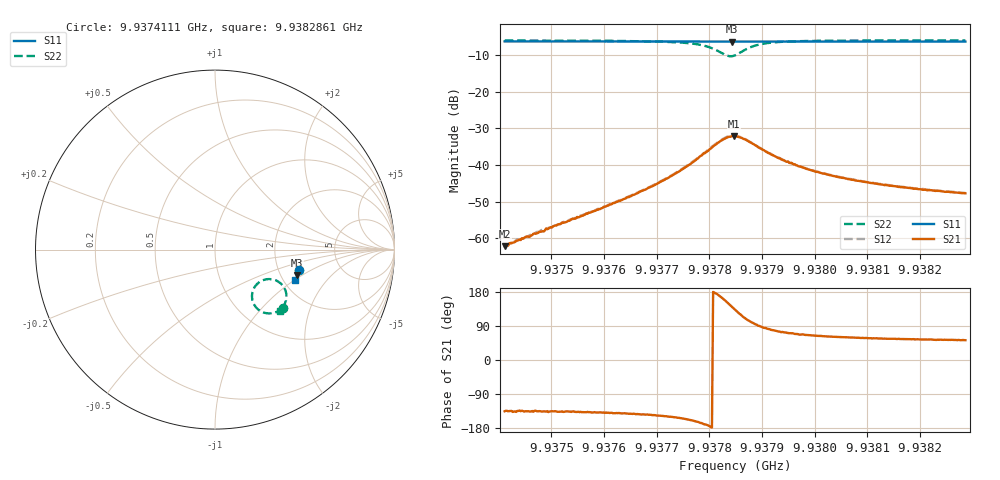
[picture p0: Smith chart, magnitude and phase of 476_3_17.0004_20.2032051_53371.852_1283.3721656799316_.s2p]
#  HZ  S  RI  R  50.00
! Rohde & Schwarz Vector Network Analyzer
! Rohde-Schwarz,ZNB20-2Port,1311601062101988,3.16
! Created: UTC 3/20/2024, 11:13:23 PM
! freq[Hz]  re:S11  im:S11  re:S21  im:S21  re:S12  im:S12  re:S22  im:S22
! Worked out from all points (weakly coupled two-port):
!   401 points, 9.9374111 GHz to 9.9382861 GHz, reference 50 ohm
!   highest |S21| = -32.15 dB at 9.9378464 GHz (marker M1); lowest = -62.2 dB at 9.9374111 GHz (marker M2)
!   lowest |S11| = -6.4 dB at 9.937842 GHz (marker M3), VSWR 2.83, Z = 122 - j45.2 ohm
!   |S11| at or under -10 dB: nowhere
!   |S22| runs from -10.4 to -6.1 dB; largest |S21 - S12| = 0.001
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9.93741106e9  0.4691 -0.1159  -0.000553 -0.000547  -0.000593 -0.000552  0.3768 -0.3242
9.93741981e9  0.4689 -0.1164  -0.000596 -0.000601  -0.000593 -0.000599  0.3761 -0.3248
9.93743512e9  0.4684 -0.1174  -0.000648 -0.000661  -0.000695 -0.000674  0.3749 -0.3259
9.93755763e9  0.4657 -0.1257  -0.00149 -0.00136  -0.00151 -0.00138  0.3615 -0.3366
9.93763639e9  0.4638 -0.1311  -0.00263 -0.00215  -0.00271 -0.00215  0.3475 -0.3447
9.93770421e9  0.462 -0.1356  -0.00478 -0.0031  -0.00493 -0.0031  0.326 -0.353
9.93774796e9  0.4607 -0.1387  -0.00777 -0.00376  -0.008 -0.00371  0.2992 -0.3558
9.93779172e9  0.4589 -0.1413  -0.0143 -0.00244  -0.0146 -0.00239  0.2468 -0.3383
9.93780703e9  0.4581 -0.1422  -0.0178 0.000128  -0.0182 0.000429  0.2223 -0.3135
9.93782234e9  0.4572 -0.1427  -0.0208 0.00525  -0.0209 0.00608  0.2065 -0.2678
9.93783328e9  0.4567 -0.1427  -0.0209 0.0108  -0.0212 0.0117  0.2128 -0.2247
9.93784203e9  0.4567 -0.1425  -0.0191 0.0153  -0.019 0.016  0.2339 -0.1924
9.93784641e9  0.4567 -0.1428  -0.0178 0.0172  -0.0174 0.0181  0.249 -0.1802
9.9378486e9  0.4567 -0.1426  -0.0165 0.0179  -0.0164 0.0187  0.2574 -0.175
9.93785954e9  0.4571 -0.1431  -0.0117 0.0204  -0.011 0.0212  0.3014 -0.1641
9.93787485e9  0.4575 -0.1439  -0.00496 0.0202  -0.00444 0.0206  0.3513 -0.1776
9.9379011e9  0.4578 -0.146  0.000997 0.016  0.00148 0.0162  0.3894 -0.2204
9.93794267e9  0.457 -0.1491  0.0034 0.0109  0.00366 0.0109  0.3981 -0.2659
9.93799517e9  0.4557 -0.1528  0.00354 0.00758  0.00374 0.00756  0.3922 -0.2943
9.93806737e9  0.4539 -0.1578  0.00324 0.00544  0.00339 0.00546  0.383 -0.3137
9.93814175e9  0.4518 -0.1626  0.00291 0.00431  0.00303 0.00433  0.3751 -0.3254
9.93828614e9  0.4478 -0.1719  0.00251 0.00324  0.00256 0.00325  0.3629 -0.3399
